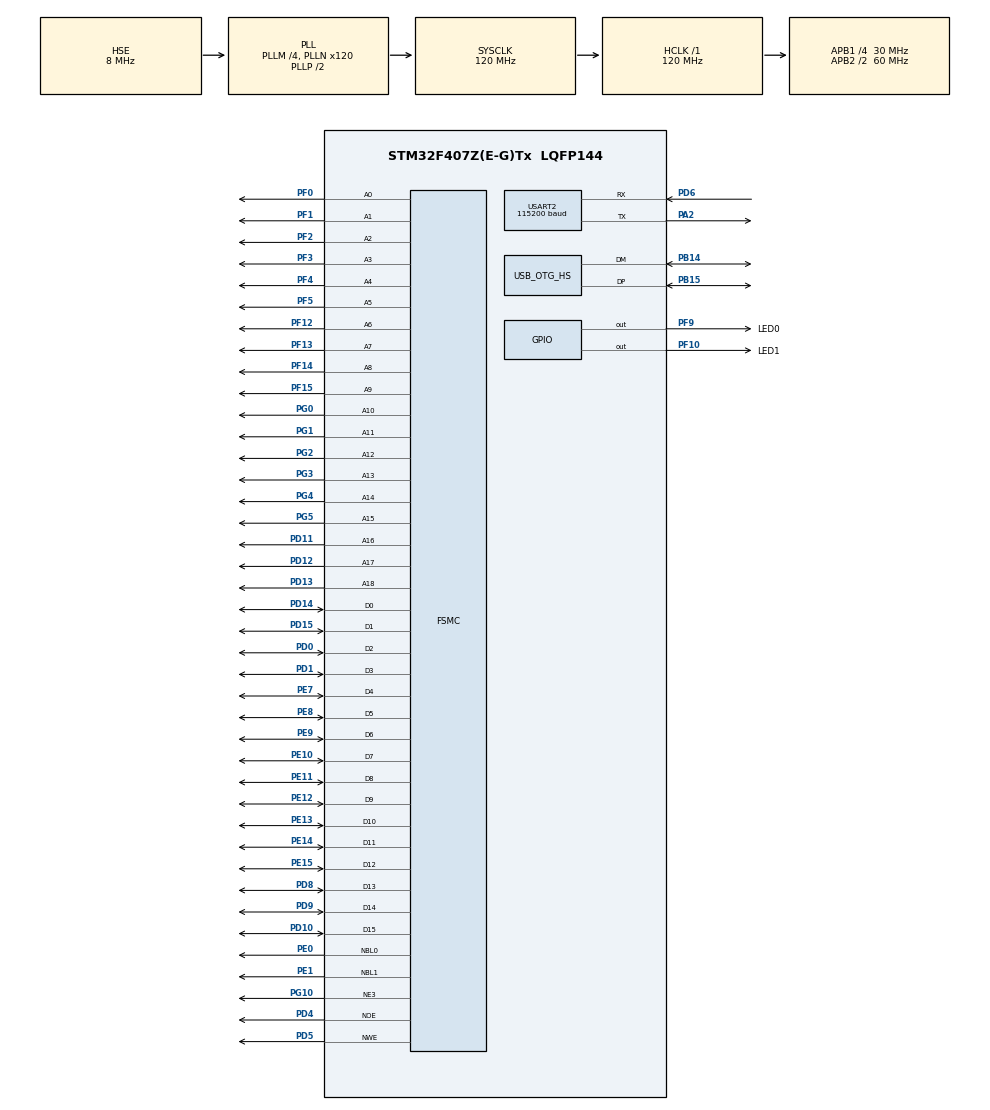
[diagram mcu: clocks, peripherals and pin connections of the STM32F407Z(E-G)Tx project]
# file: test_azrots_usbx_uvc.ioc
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Dma.Request0=USART2_RX
Dma.USART2_RX.0.Direction=DMA_PERIPH_TO_MEMORY
Dma.USART2_RX.0.FIFOMode=DMA_FIFOMODE_DISABLE
Dma.USART2_RX.0.Instance=DMA1_Stream5
Dma.USART2_RX.0.MemDataAlignment=DMA_MDATAALIGN_BYTE
Dma.USART2_RX.0.MemInc=DMA_MINC_ENABLE
Dma.USART2_RX.0.Mode=DMA_CIRCULAR
Dma.USART2_RX.0.PeriphDataAlignment=DMA_PDATAALIGN_BYTE
Dma.USART2_RX.0.PeriphInc=DMA_PINC_DISABLE
Dma.USART2_RX.0.Priority=DMA_PRIORITY_MEDIUM
FSMC.AddressSetupTime2=5
FSMC.BusTurnAroundDuration2=1
FSMC.DataSetupTime2=7
FSMC.WriteOperation2=FSMC_WRITE_OPERATION_ENABLE
Mcu.Family=STM32F4
Mcu.Name=STM32F407Z(E-G)Tx
Mcu.Package=LQFP144
NVIC.DMA1_Stream5_IRQn=true\:6\:0\:true\:false\:true\:false\:false\:true\:true
NVIC.OTG_HS_IRQn=true\:0\:0\:false\:false\:true\:false\:true\:true\:true
NVIC.PriorityGroup=NVIC_PRIORITYGROUP_4
NVIC.TIM5_IRQn=true\:15\:0\:false\:false\:true\:false\:false\:true\:true
NVIC.TimeBase=TIM5_IRQn
NVIC.TimeBaseIP=TIM5
NVIC.USART2_IRQn=true\:6\:0\:true\:false\:true\:false\:true\:true\:true
PA13.Mode=Serial_Wire
PA13.Signal=SYS_JTMS-SWDIO
PA14.Mode=Serial_Wire
PA14.Signal=SYS_JTCK-SWCLK
PA2.GPIO_PuPd=GPIO_PULLUP
PA2.GPIO_Speed=GPIO_SPEED_FREQ_VERY_HIGH
PA2.Mode=Asynchronous
PA2.Signal=USART2_TX
PB14.Mode=Host_FS
PB14.Signal=USB_OTG_HS_DM
PB15.Mode=Host_FS
PB15.Signal=USB_OTG_HS_DP
PD0.GPIO_PuPd=GPIO_PULLUP
PD0.Signal=FSMC_D2_DA2
PD1.GPIO_PuPd=GPIO_PULLUP
PD1.Signal=FSMC_D3_DA3
PD10.GPIO_PuPd=GPIO_PULLUP
PD10.Signal=FSMC_D15_DA15
PD11.Signal=FSMC_A16_CLE
PD12.Signal=FSMC_A17_ALE
PD13.Signal=FSMC_A18
PD14.GPIO_PuPd=GPIO_PULLUP
PD14.Signal=FSMC_D0_DA0
PD15.GPIO_PuPd=GPIO_PULLUP
PD15.Signal=FSMC_D1_DA1
PD4.GPIO_PuPd=GPIO_PULLUP
PD4.Signal=FSMC_NOE
PD5.GPIO_PuPd=GPIO_PULLUP
PD5.Signal=FSMC_NWE
PD6.GPIO_PuPd=GPIO_NOPULL
PD6.GPIO_Speed=GPIO_SPEED_FREQ_MEDIUM
PD6.Mode=Asynchronous
PD6.Signal=USART2_RX
PD8.GPIO_PuPd=GPIO_PULLUP
PD8.Signal=FSMC_D13_DA13
PD9.GPIO_PuPd=GPIO_PULLUP
PD9.Signal=FSMC_D14_DA14
PE0.Signal=FSMC_NBL0
PE1.Signal=FSMC_NBL1
PE10.GPIO_PuPd=GPIO_PULLUP
PE10.Signal=FSMC_D7_DA7
PE11.GPIO_PuPd=GPIO_PULLUP
PE11.Signal=FSMC_D8_DA8
PE12.GPIO_PuPd=GPIO_PULLUP
PE12.Signal=FSMC_D9_DA9
PE13.GPIO_PuPd=GPIO_PULLUP
PE13.Signal=FSMC_D10_DA10
PE14.GPIO_PuPd=GPIO_PULLUP
PE14.Signal=FSMC_D11_DA11
PE15.GPIO_PuPd=GPIO_PULLUP
PE15.Signal=FSMC_D12_DA12
PE7.GPIO_PuPd=GPIO_PULLUP
PE7.Signal=FSMC_D4_DA4
PE8.GPIO_PuPd=GPIO_PULLUP
PE8.Signal=FSMC_D5_DA5
PE9.GPIO_PuPd=GPIO_PULLUP
PE9.Signal=FSMC_D6_DA6
PF0.Signal=FSMC_A0
PF1.Signal=FSMC_A1
PF10.GPIO_Label=LED1
PF10.PinState=GPIO_PIN_SET
PF10.Signal=GPIO_Output
PF12.GPIO_PuPd=GPIO_PULLUP
PF12.Signal=FSMC_A6
PF13.Signal=FSMC_A7
PF14.Signal=FSMC_A8
PF15.Signal=FSMC_A9
PF2.Signal=FSMC_A2
PF3.Signal=FSMC_A3
PF4.Signal=FSMC_A4
PF5.Signal=FSMC_A5
PF9.GPIO_Label=LED0
PF9.PinState=GPIO_PIN_SET
PF9.Signal=GPIO_Output
PG0.Signal=FSMC_A10
PG1.Signal=FSMC_A11
PG10.Mode=NorPsramChipSelect3_2
PG10.Signal=FSMC_NE3
PG2.Signal=FSMC_A12
PG3.Signal=FSMC_A13
PG4.Signal=FSMC_A14
PG5.Signal=FSMC_A15
PH0-OSC_IN.Mode=HSE-External-Oscillator
PH0-OSC_IN.Signal=RCC_OSC_IN
PH1-OSC_OUT.Mode=HSE-External-Oscillator
PH1-OSC_OUT.Signal=RCC_OSC_OUT
ProjectManager.HeapSize=0x2000
ProjectManager.StackSize=0x4000
ProjectManager.TargetToolchain=STM32CubeIDE
RCC.48MHZClocksFreq_Value=48000000
RCC.AHBFreq_Value=120000000
RCC.APB1CLKDivider=RCC_HCLK_DIV4
RCC.APB1Freq_Value=30000000
RCC.APB1TimFreq_Value=60000000
RCC.APB2CLKDivider=RCC_HCLK_DIV2
RCC.APB2Freq_Value=60000000
RCC.APB2TimFreq_Value=120000000
RCC.CortexFreq_Value=120000000
RCC.HCLKFreq_Value=120000000
RCC.HSE_VALUE=8000000
RCC.HSI_VALUE=16000000
RCC.LSE_VALUE=32768
RCC.PLLM=4
RCC.PLLN=120
RCC.PLLQ=5
RCC.PLLSourceVirtual=RCC_PLLSOURCE_HSE
RCC.RCC_MCO1Source=RCC_MCO1SOURCE_PLLCLK
RCC.RCC_MCODiv1=RCC_MCODIV_5
RCC.RCC_RTC_Clock_Source=RCC_RTCCLKSOURCE_LSI
RCC.RCC_RTC_Clock_SourceVirtual=RCC_RTCCLKSOURCE_LSI
RCC.SYSCLKFreq_VALUE=120000000
RCC.SYSCLKSource=RCC_SYSCLKSOURCE_PLLCLK
RCC.VCOOutputFreq_Value=240000000
SH.FSMC_A0.0=FSMC_A0,19b-a2
SH.FSMC_A1.0=FSMC_A1,19b-a2
SH.FSMC_A10.0=FSMC_A10,19b-a2
SH.FSMC_A11.0=FSMC_A11,19b-a2
SH.FSMC_A12.0=FSMC_A12,19b-a2
SH.FSMC_A13.0=FSMC_A13,19b-a2
SH.FSMC_A14.0=FSMC_A14,19b-a2
SH.FSMC_A15.0=FSMC_A15,19b-a2
SH.FSMC_A16_CLE.0=FSMC_A16,19b-a2
SH.FSMC_A17_ALE.0=FSMC_A17,19b-a2
SH.FSMC_A18.0=FSMC_A18,19b-a2
SH.FSMC_A2.0=FSMC_A2,19b-a2
SH.FSMC_A3.0=FSMC_A3,19b-a2
SH.FSMC_A4.0=FSMC_A4,19b-a2
SH.FSMC_A5.0=FSMC_A5,19b-a2
SH.FSMC_A6.0=FSMC_A6,19b-a2
SH.FSMC_A7.0=FSMC_A7,19b-a2
SH.FSMC_A8.0=FSMC_A8,19b-a2
SH.FSMC_A9.0=FSMC_A9,19b-a2
SH.FSMC_D0_DA0.0=FSMC_D0,16b-d2
SH.FSMC_D10_DA10.0=FSMC_D10,16b-d2
SH.FSMC_D11_DA11.0=FSMC_D11,16b-d2
SH.FSMC_D12_DA12.0=FSMC_D12,16b-d2
SH.FSMC_D13_DA13.0=FSMC_D13,16b-d2
SH.FSMC_D14_DA14.0=FSMC_D14,16b-d2
SH.FSMC_D15_DA15.0=FSMC_D15,16b-d2
SH.FSMC_D1_DA1.0=FSMC_D1,16b-d2
SH.FSMC_D2_DA2.0=FSMC_D2,16b-d2
SH.FSMC_D3_DA3.0=FSMC_D3,16b-d2
SH.FSMC_D4_DA4.0=FSMC_D4,16b-d2
SH.FSMC_D5_DA5.0=FSMC_D5,16b-d2
SH.FSMC_D6_DA6.0=FSMC_D6,16b-d2
SH.FSMC_D7_DA7.0=FSMC_D7,16b-d2
SH.FSMC_D8_DA8.0=FSMC_D8,16b-d2
SH.FSMC_D9_DA9.0=FSMC_D9,16b-d2
SH.FSMC_NBL0.0=FSMC_NBL0,2ByteEnable2
SH.FSMC_NBL1.0=FSMC_NBL1,2ByteEnable2
SH.FSMC_NOE.0=FSMC_NOE,Sram2
SH.FSMC_NWE.0=FSMC_NWE,Sram2
STMicroelectronics.X-CUBE-AZRTOS-F4.1.1.0.TX_APP_MEM_POOL_SIZE=10240
STMicroelectronics.X-CUBE-AZRTOS-F4.1.1.0.TX_TIMER_TICKS_PER_SECOND=1000
STMicroelectronics.X-CUBE-AZRTOS-F4.1.1.0.ThreadXCcRTOSJjThreadXJjCore=true
STMicroelectronics.X-CUBE-AZRTOS-F4.1.1.0.ThreadXCcRTOSJjThreadXJjLowOoPowerOosupport=true
STMicroelectronics.X-CUBE-AZRTOS-F4.1.1.0.ThreadXCcRTOSJjThreadXJjPerformanceInfo=true
STMicroelectronics.X-CUBE-AZRTOS-F4.1.1.0.ThreadXCcRTOSJjThreadXJjTraceXOosupport=true
STMicroelectronics.X-CUBE-AZRTOS-F4.1.1.0.USBXCcUSBJjUSBXJjCoreSystem=true
STMicroelectronics.X-CUBE-AZRTOS-F4.1.1.0.USBXCcUSBJjUSBXJjUXOoHostOoClassOoVIDEO=true
STMicroelectronics.X-CUBE-AZRTOS-F4.1.1.0.USBXCcUSBJjUSBXJjUXOoHostOoControllers=true
STMicroelectronics.X-CUBE-AZRTOS-F4.1.1.0.USBXCcUSBJjUSBXJjUXOoHostOoCoreStack=true
STMicroelectronics.X-CUBE-AZRTOS-F4.1.1.0.UX_HOST_APP_MEM_POOL_SIZE=1024*70
STMicroelectronics.X-CUBE-AZRTOS-F4.1.1.0.UX_MAX_HCD=1
STMicroelectronics.X-CUBE-AZRTOS-F4.1.1.0_IsAnAzureRtosMw=true
USART2.BaudRate=115200
USART2.VirtualMode=VM_ASYNC
USB_OTG_HS.VirtualMode-Host_FS=Host_FS
VP_STMicroelectronics.X-CUBE-AZRTOS-F4_VS_RTOSJjThreadX_6.1.10_1.1.0.Mode=RTOSJjThreadX
VP_STMicroelectronics.X-CUBE-AZRTOS-F4_VS_USBJjUSBX_6.1.10_1.1.0.Mode=USBJjUSBX
VP_SYS_VS_tim5.Mode=TIM5
board=custom

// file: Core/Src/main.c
/* USER CODE BEGIN Header */
/**
 ******************************************************************************
 * @file           : main.c
 * @brief          : Main program body
 ******************************************************************************
 * @attention
 *
 * Copyright (c) 2023 STMicroelectronics.
 * All rights reserved.
 *
 * This software is licensed under terms that can be found in the LICENSE file
 * in the root directory of this software component.
 * If no LICENSE file comes with this software, it is provided AS-IS.
 *
 ******************************************************************************
 */
/* USER CODE END Header */
#include "main.h"
#include "app_threadx.h"
#include "dma.h"
#include "usart.h"
#include "usb_otg.h"
#include "gpio.h"
#include "fsmc.h"

/* USER CODE BEGIN Includes */
#include <stdio.h>

#include "uart_comm_helper.h"

/* USER CODE END Includes */

/* USER CODE BEGIN PV */
extern DMA_HandleTypeDef hdma_usart2_rx;
UartMessageHandler debugMessageHandler;
/* USER CODE END PV */

void SystemClock_Config(void);

/* USER CODE BEGIN 0 */
#ifdef __GNUC__
#define PUTCHAR_PROTOTYPE int __io_putchar(int ch)
#else
#define PUTCHAR_PROTOTYPE int fputc(int ch, FILE *f)
#endif

PUTCHAR_PROTOTYPE {
  HAL_UART_Transmit(&huart2, (uint8_t *) &ch, 1, HAL_MAX_DELAY);
  return ch;
}
void HAL_UARTEx_RxEventCallback(UART_HandleTypeDef *huart, uint16_t Size) {
  if (huart->Instance == debugMessageHandler.llhandler.uart->Instance) {
    UART_IDLE_Callback(&debugMessageHandler.llhandler, huart);
  }
}
void debugPacketHandler(uint8_t *packet, uint16_t packetLen, void *arg) {
  printf("%.*s\r\n", packetLen, packet);
}
void Vector_Init_Setting(uint32_t addr)  // The interrupt vector transfer
{
  SCB->VTOR = addr;
}
/* USER CODE END 0 */

int main(void)
{
  /* USER CODE BEGIN 1 */
  Vector_Init_Setting(FLASH_BASE);
  /* USER CODE END 1 */

  /* MCU Configuration--------------------------------------------------------*/

  /* Reset of all peripherals, Initializes the Flash interface and the Systick. */
  HAL_Init();

  /* Configure the system clock */
  SystemClock_Config();

  /* Initialize all configured peripherals */
  MX_GPIO_Init();
  MX_DMA_Init();
  MX_USART2_UART_Init();
  MX_FSMC_Init();
  MX_USB_OTG_HS_HCD_Init();
  /* USER CODE BEGIN 2 */
  UartPacketHandlerInit(&debugMessageHandler, &huart2, debugPacketHandler);
  printf("this is a uvc test program.\r\n");
  /* USER CODE END 2 */

  MX_ThreadX_Init();

  /* We should never get here as control is now taken by the scheduler */
  /* Infinite loop */
  while (1) {

  }
}

void SystemClock_Config(void)
{
  RCC_OscInitTypeDef RCC_OscInitStruct = {0};
  RCC_ClkInitTypeDef RCC_ClkInitStruct = {0};

  /** Configure the main internal regulator output voltage
  */
  __HAL_RCC_PWR_CLK_ENABLE();
  __HAL_PWR_VOLTAGESCALING_CONFIG(PWR_REGULATOR_VOLTAGE_SCALE1);

  /** Initializes the RCC Oscillators according to the specified parameters
  * in the RCC_OscInitTypeDef structure.
  */
  RCC_OscInitStruct.OscillatorType = RCC_OSCILLATORTYPE_HSE;
  RCC_OscInitStruct.HSEState = RCC_HSE_ON;
  RCC_OscInitStruct.PLL.PLLState = RCC_PLL_ON;
  RCC_OscInitStruct.PLL.PLLSource = RCC_PLLSOURCE_HSE;
  RCC_OscInitStruct.PLL.PLLM = 4;
  RCC_OscInitStruct.PLL.PLLN = 120;
  RCC_OscInitStruct.PLL.PLLP = RCC_PLLP_DIV2;
  RCC_OscInitStruct.PLL.PLLQ = 5;
  if (HAL_RCC_OscConfig(&RCC_OscInitStruct) != HAL_OK)
  {
    Error_Handler();
  }

  /** Initializes the CPU, AHB and APB buses clocks
  */
  RCC_ClkInitStruct.ClockType = RCC_CLOCKTYPE_HCLK|RCC_CLOCKTYPE_SYSCLK
                              |RCC_CLOCKTYPE_PCLK1|RCC_CLOCKTYPE_PCLK2;
  RCC_ClkInitStruct.SYSCLKSource = RCC_SYSCLKSOURCE_PLLCLK;
  RCC_ClkInitStruct.AHBCLKDivider = RCC_SYSCLK_DIV1;
  RCC_ClkInitStruct.APB1CLKDivider = RCC_HCLK_DIV4;
  RCC_ClkInitStruct.APB2CLKDivider = RCC_HCLK_DIV2;

  if (HAL_RCC_ClockConfig(&RCC_ClkInitStruct, FLASH_LATENCY_3) != HAL_OK)
  {
    Error_Handler();
  }
}

void HAL_TIM_PeriodElapsedCallback(TIM_HandleTypeDef *htim)
{
  if (htim->Instance == TIM5) {
    HAL_IncTick();
  }
}

void Error_Handler(void)
{
  /* USER CODE BEGIN Error_Handler_Debug */
  /* User can add his own implementation to report the HAL error return state */
  __disable_irq();
   while (1)
  {
    HAL_GPIO_TogglePin(LED1_GPIO_Port,LED1_Pin);
    printf("%s\r\n",__func__);
    HAL_Delay(1000);
  }
  /* USER CODE END Error_Handler_Debug */
}

#ifdef  USE_FULL_ASSERT
/**
  * @brief  Reports the name of the source file and the source line number
  *         where the assert_param error has occurred.
  * @param  file: pointer to the source file name
  * @param  line: assert_param error line source number
  * @retval None
  */
void assert_failed(uint8_t *file, uint32_t line)
{
  /* USER CODE BEGIN 6 */
  /* User can add his own implementation to report the file name and line
     number, ex: printf("Wrong parameters value: file %s on line %d\r\n", file,
     line) */
  /* USER CODE END 6 */
}
#endif /* USE_FULL_ASSERT */
